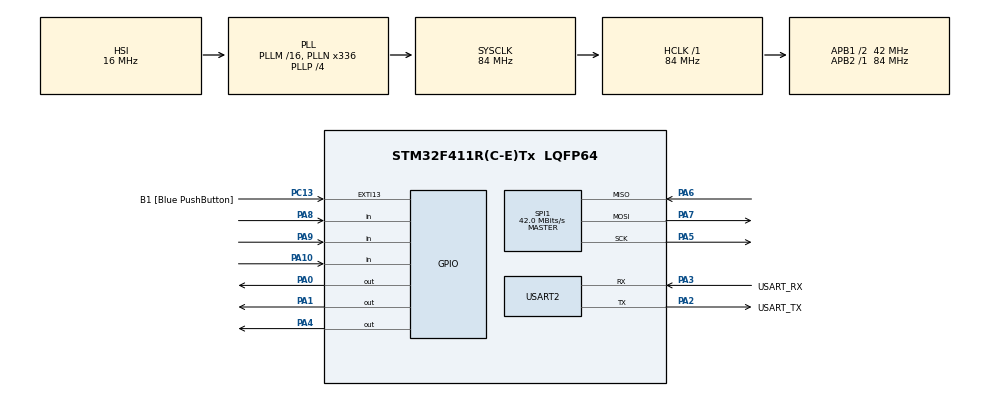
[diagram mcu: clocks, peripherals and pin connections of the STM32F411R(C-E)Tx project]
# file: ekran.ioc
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Mcu.Family=STM32F4
Mcu.Name=STM32F411R(C-E)Tx
Mcu.Package=LQFP64
NVIC.PriorityGroup=NVIC_PRIORITYGROUP_0
PA0-WKUP.PinState=GPIO_PIN_SET
PA0-WKUP.Signal=GPIO_Output
PA1.PinState=GPIO_PIN_SET
PA1.Signal=GPIO_Output
PA10.Signal=GPIO_Input
PA13.GPIO_Label=TMS
PA13.Mode=Serial_Wire
PA13.Signal=SYS_JTMS-SWDIO
PA14.GPIO_Label=TCK
PA14.Mode=Serial_Wire
PA14.Signal=SYS_JTCK-SWCLK
PA2.GPIO_Label=USART_TX
PA2.Mode=Asynchronous
PA2.Signal=USART2_TX
PA3.GPIO_Label=USART_RX
PA3.Mode=Asynchronous
PA3.Signal=USART2_RX
PA4.GPIO_Speed=GPIO_SPEED_FREQ_LOW
PA4.PinState=GPIO_PIN_SET
PA4.Signal=GPIO_Output
PA5.Mode=Full_Duplex_Master
PA5.Signal=SPI1_SCK
PA6.Mode=Full_Duplex_Master
PA6.Signal=SPI1_MISO
PA7.Mode=Full_Duplex_Master
PA7.Signal=SPI1_MOSI
PA8.Signal=GPIO_Input
PA9.Signal=GPIO_Input
PB3.GPIO_Label=SWO
PB3.Signal=SYS_JTDO-SWO
PC13-ANTI_TAMP.GPIO_Label=B1 [Blue PushButton]
PC13-ANTI_TAMP.GPIO_ModeDefaultEXTI=GPIO_MODE_IT_FALLING
PC13-ANTI_TAMP.Signal=GPXTI13
PC14-OSC32_IN.Mode=LSE-External-Oscillator
PC14-OSC32_IN.Signal=RCC_OSC32_IN
PC15-OSC32_OUT.Mode=LSE-External-Oscillator
PC15-OSC32_OUT.Signal=RCC_OSC32_OUT
PH0\ -\ OSC_IN.Mode=HSE-External-Clock-Source
PH0\ -\ OSC_IN.Signal=RCC_OSC_IN
PH1\ -\ OSC_OUT.Mode=HSE-External-Clock-Source
PH1\ -\ OSC_OUT.Signal=RCC_OSC_OUT
ProjectManager.HeapSize=0x200
ProjectManager.StackSize=0x400
ProjectManager.TargetToolchain=STM32CubeIDE
RCC.48MHZClocksFreq_Value=84000000
RCC.AHBFreq_Value=84000000
RCC.APB1CLKDivider=RCC_HCLK_DIV2
RCC.APB1Freq_Value=42000000
RCC.APB1TimFreq_Value=84000000
RCC.APB2Freq_Value=84000000
RCC.APB2TimFreq_Value=84000000
RCC.CortexFreq_Value=84000000
RCC.FLatency-AdvancedSettings=FLASH_LATENCY_2
RCC.HCLKFreq_Value=84000000
RCC.HSE_VALUE=8000000
RCC.HSI_VALUE=16000000
RCC.PLLN=336
RCC.PLLP=RCC_PLLP_DIV4
RCC.SYSCLKFreq_VALUE=84000000
RCC.SYSCLKSource=RCC_SYSCLKSOURCE_PLLCLK
RCC.VCOOutputFreq_Value=336000000
SPI1.BaudRatePrescaler=SPI_BAUDRATEPRESCALER_2
SPI1.CalculateBaudRate=42.0 MBits/s
SPI1.Direction=SPI_DIRECTION_2LINES
SPI1.Mode=SPI_MODE_MASTER
SPI1.VirtualType=VM_MASTER
USART2.VirtualMode=VM_ASYNC
board=NUCLEO-F411RE

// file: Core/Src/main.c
/* USER CODE BEGIN Header */
/**
  ******************************************************************************
  * @file           : main.c
  * @brief          : Main program body
  ******************************************************************************
  * @attention
  *
  * Copyright (c) 2026 STMicroelectronics.
  * All rights reserved.
  *
  * This software is licensed under terms that can be found in the LICENSE file
  * in the root directory of this software component.
  * If no LICENSE file comes with this software, it is provided AS-IS.
  *
  ******************************************************************************
  */
/* USER CODE END Header */
#include "main.h"

SPI_HandleTypeDef hspi1;

UART_HandleTypeDef huart2;

/* USER CODE BEGIN PV */

typedef enum {
    STATE_PASS,
    STATE_DOUBLE,
    STATE_BID_LEVEL,
    STATE_BID_SUIT
} BiddingState;

typedef enum {
    CLUBS,
    DIAMONDS,
    HEARTS,
    SPADES,
    NT
} Suit;

typedef enum {
    CALL_PASS,
    CALL_DOUBLE,
    CALL_BID
} CallType;

typedef struct {
    CallType type;
    uint8_t level;
    Suit suit;
} Call;

#define MAX_CALLS 20

volatile Call bidding_history[MAX_CALLS];
volatile uint8_t bidding_count = 0;

volatile BiddingState current_state = STATE_PASS;

volatile uint8_t current_level = 1;
volatile Suit current_suit = CLUBS;

volatile uint8_t double_available = 1;
volatile uint8_t redouble_available = 0;

volatile uint8_t last_bid_level = 0;   // 0 = jeszcze nic nie było
volatile Suit last_bid_suit = CLUBS;

/* USER CODE END PV */

void SystemClock_Config(void);
static void MX_GPIO_Init(void);
static void MX_USART2_UART_Init(void);
static void MX_SPI1_Init(void);

/* USER CODE BEGIN 0 */

#define TFT_DC_PORT GPIOA
#define TFT_DC_PIN  GPIO_PIN_0

#define TFT_RST_PORT GPIOA
#define TFT_RST_PIN  GPIO_PIN_1

#define TFT_CS_PORT GPIOA
#define TFT_CS_PIN  GPIO_PIN_4

void TFT_Select(void)
{
    HAL_GPIO_WritePin(TFT_CS_PORT, TFT_CS_PIN, GPIO_PIN_RESET);
}

void TFT_Unselect(void)
{
    HAL_GPIO_WritePin(TFT_CS_PORT, TFT_CS_PIN, GPIO_PIN_SET);
}

void TFT_DC_Command(void)
{
    HAL_GPIO_WritePin(TFT_DC_PORT, TFT_DC_PIN, GPIO_PIN_RESET);
}

void TFT_DC_Data(void)
{
    HAL_GPIO_WritePin(TFT_DC_PORT, TFT_DC_PIN, GPIO_PIN_SET);
}

void TFT_Reset(void)
{
    HAL_GPIO_WritePin(TFT_RST_PORT, TFT_RST_PIN, GPIO_PIN_RESET);
    HAL_Delay(20);
    HAL_GPIO_WritePin(TFT_RST_PORT, TFT_RST_PIN, GPIO_PIN_SET);
    HAL_Delay(120);
}

void TFT_WriteCommand(uint8_t cmd)
{
    TFT_DC_Command();
    TFT_Select();
    HAL_SPI_Transmit(&hspi1, &cmd, 1, HAL_MAX_DELAY);
    TFT_Unselect();
}

void TFT_WriteData(uint8_t data)
{
    TFT_DC_Data();
    TFT_Select();
    HAL_SPI_Transmit(&hspi1, &data, 1, HAL_MAX_DELAY);
    TFT_Unselect();
}

void TFT_WriteBuffer(uint8_t *buff, uint32_t len)
{
    TFT_DC_Data();
    TFT_Select();
    HAL_SPI_Transmit(&hspi1, buff, len, HAL_MAX_DELAY);
    TFT_Unselect();
}

void ILI9488_Init_Minimal(void)
{
    TFT_Reset();

    TFT_WriteCommand(0x01);
    HAL_Delay(120);

    TFT_WriteCommand(0x11);
    HAL_Delay(120);

    TFT_WriteCommand(0x3A);
    TFT_WriteData(0x66);    // 18-bit

    TFT_WriteCommand(0x36);
    TFT_WriteData(0x48);

    TFT_WriteCommand(0x29);
    HAL_Delay(20);
}

void ILI9488_SetAddressWindow(uint16_t x0, uint16_t y0, uint16_t x1, uint16_t y1)
{
    uint8_t data[4];

    TFT_WriteCommand(0x2A);
    data[0] = (x0 >> 8) & 0xFF;
    data[1] = x0 & 0xFF;
    data[2] = (x1 >> 8) & 0xFF;
    data[3] = x1 & 0xFF;
    TFT_WriteBuffer(data, 4);

    TFT_WriteCommand(0x2B);
    data[0] = (y0 >> 8) & 0xFF;
    data[1] = y0 & 0xFF;
    data[2] = (y1 >> 8) & 0xFF;
    data[3] = y1 & 0xFF;
    TFT_WriteBuffer(data, 4);

    TFT_WriteCommand(0x2C);
}

void ILI9488_FillScreen(uint8_t r, uint8_t g, uint8_t b)
{
    ILI9488_SetAddressWindow(0, 0, 319, 479);

    TFT_DC_Data();
    TFT_Select();

    uint8_t pixel[3] = {r, g, b};

    for (uint32_t i = 0; i < 320UL * 480UL; i++)
    {
        HAL_SPI_Transmit(&hspi1, pixel, 3, HAL_MAX_DELAY);
    }

    TFT_Unselect();
}

void ILI9488_FillRect(uint16_t x, uint16_t y, uint16_t w, uint16_t h, uint8_t r, uint8_t g, uint8_t b)
{
    if (x >= 320 || y >= 480) return;
    if ((x + w) > 320) w = 320 - x;
    if ((y + h) > 480) h = 480 - y;

    ILI9488_SetAddressWindow(x, y, x + w - 1, y + h - 1);

    TFT_DC_Data();
    TFT_Select();

    uint8_t pixel[3] = {r, g, b};

    for (uint32_t i = 0; i < (uint32_t)w * h; i++)
    {
        HAL_SPI_Transmit(&hspi1, pixel, 3, HAL_MAX_DELAY);
    }

    TFT_Unselect();
}

/* ===== 7-segment digits ===== */

void DrawSegmentA(uint16_t x, uint16_t y, uint8_t r, uint8_t g, uint8_t b)
{
    ILI9488_FillRect(x + 10, y, 40, 10, r, g, b);
}

void DrawSegmentB(uint16_t x, uint16_t y, uint8_t r, uint8_t g, uint8_t b)
{
    ILI9488_FillRect(x + 50, y + 10, 10, 40, r, g, b);
}

void DrawSegmentC(uint16_t x, uint16_t y, uint8_t r, uint8_t g, uint8_t b)
{
    ILI9488_FillRect(x + 50, y + 60, 10, 40, r, g, b);
}

void DrawSegmentD(uint16_t x, uint16_t y, uint8_t r, uint8_t g, uint8_t b)
{
    ILI9488_FillRect(x + 10, y + 100, 40, 10, r, g, b);
}

void DrawSegmentE(uint16_t x, uint16_t y, uint8_t r, uint8_t g, uint8_t b)
{
    ILI9488_FillRect(x, y + 60, 10, 40, r, g, b);
}

void DrawSegmentF(uint16_t x, uint16_t y, uint8_t r, uint8_t g, uint8_t b)
{
    ILI9488_FillRect(x, y + 10, 10, 40, r, g, b);
}

void DrawSegmentG(uint16_t x, uint16_t y, uint8_t r, uint8_t g, uint8_t b)
{
    ILI9488_FillRect(x + 10, y + 50, 40, 10, r, g, b);
}

void SetNextBidAfterLast(void)
{
    if (last_bid_level == 0)
    {
        current_level = 1;
        current_suit = CLUBS;
        return;
    }

    current_level = last_bid_level;
    current_suit = (Suit)(last_bid_suit + 1);

    if (current_suit > NT)
    {
        current_suit = CLUBS;
        current_level++;

        if (current_level > 7)
        {
            current_level = 7;
            current_suit = NT;
        }
    }
}

void HandleNext(void)
{
    switch(current_state)
    {
        case STATE_PASS:
            if(double_available)
                current_state = STATE_DOUBLE;
            else
                current_state = STATE_BID_LEVEL;
            break;

        case STATE_DOUBLE:
            current_state = STATE_BID_LEVEL;
            break;

        case STATE_BID_LEVEL:
            current_level++;
            if(current_level > 7)
                current_level = 1;
            break;

        case STATE_BID_SUIT:
            current_suit = (Suit)(current_suit + 1);
            if(current_suit > NT)
                current_suit = CLUBS;
            break;
    }
}

void HandleBack(void)
{
    switch(current_state)
    {
        case STATE_PASS:
            break;

        case STATE_DOUBLE:
            current_state = STATE_PASS;
            break;

        case STATE_BID_LEVEL:
            if(double_available)
                current_state = STATE_DOUBLE;
            else
                current_state = STATE_PASS;
            break;

        case STATE_BID_SUIT:
            current_state = STATE_BID_LEVEL;
            break;
    }
}

void HandleOK(void)
{
    switch(current_state)
    {
        case STATE_PASS:
            AddCallToHistory(CALL_PASS, 0, CLUBS);
            current_state = STATE_PASS;
            break;

        case STATE_DOUBLE:
            AddCallToHistory(CALL_DOUBLE, 0, CLUBS);
            current_state = STATE_PASS;
            break;

        case STATE_BID_LEVEL:
            current_state = STATE_BID_SUIT;
            break;

        case STATE_BID_SUIT:
            AddCallToHistory(CALL_BID, current_level, current_suit);

            last_bid_level = current_level;
            last_bid_suit = current_suit;

            SetNextBidAfterLast();
            current_state = STATE_PASS;
            break;
    }
}

void DrawSmallPass(uint16_t x, uint16_t y)
{
    // niebieskie P
    ILI9488_FillRect(x, y, 4, 20, 0, 0, 255);
    ILI9488_FillRect(x + 4, y, 8, 4, 0, 0, 255);
    ILI9488_FillRect(x + 12, y + 4, 4, 6, 0, 0, 255);
    ILI9488_FillRect(x + 4, y + 10, 8, 4, 0, 0, 255);
}
void DrawBigPass(uint16_t x, uint16_t y)
{
	ClearColorTopPanel();
	ClearNumberTopPanel();
    // białe P
    ILI9488_FillRect(x, y, 16, 80, 255, 255, 255);
    ILI9488_FillRect(x + 16, y, 32, 16, 255, 255, 255);
    ILI9488_FillRect(x + 48, y + 16, 16, 24, 255, 255, 255);
    ILI9488_FillRect(x + 16, y + 40, 32, 16, 255, 255, 255);
}

void DrawSmallX(uint16_t x, uint16_t y)
{
    // czerwone X
    for (int i = 0; i < 12; i++)
    {
        ILI9488_FillRect(x + i, y + i, 2, 2, 255, 0, 0);
        ILI9488_FillRect(x + 12 - i, y + i, 2, 2, 255, 0, 0);
    }
}

void DrawTinyDigit(uint16_t x, uint16_t y, uint8_t digit)
{
    // bardzo mała wersja 7-seg
    uint8_t t = 3;
    uint8_t w = 12;
    uint8_t h = 20;

    if (digit == 0 || digit > 7) return;

    #define SA() ILI9488_FillRect(x + t, y, w, t, 255,255,255)
    #define SB() ILI9488_FillRect(x + w + t, y + t, t, h/2, 255,255,255)
    #define SC() ILI9488_FillRect(x + w + t, y + h/2 + t, t, h/2, 255,255,255)
    #define SD() ILI9488_FillRect(x + t, y + h + t, w, t, 255,255,255)
    #define SE() ILI9488_FillRect(x, y + h/2 + t, t, h/2, 255,255,255)
    #define SF() ILI9488_FillRect(x, y + t, t, h/2, 255,255,255)
    #define SG() ILI9488_FillRect(x + t, y + h/2, w, t, 255,255,255)

    switch(digit)
    {
        case 1: SB(); SC(); break;
        case 2: SA(); SB(); SG(); SE(); SD(); break;
        case 3: SA(); SB(); SG(); SC(); SD(); break;
        case 4: SF(); SG(); SB(); SC(); break;
        case 5: SA(); SF(); SG(); SC(); SD(); break;
        case 6: SA(); SF(); SG(); SE(); SC(); SD(); break;
        case 7: SA(); SB(); SC(); break;
    }

    #undef SA
    #undef SB
    #undef SC
    #undef SD
    #undef SE
    #undef SF
    #undef SG
}

void DrawSmallSuit(uint16_t x, uint16_t y, Suit suit)
{
    switch(suit)
    {
        case CLUBS:
            ILI9488_FillRect(x , y + 8, 16, 3, 0, 255, 0);
            ILI9488_FillRect(x + 4, y + 14, 8, 1, 0, 255, 0);
            ILI9488_FillRect(x + 5, y + 13, 6, 1, 0, 255, 0);
            ILI9488_FillRect(x + 6, y + 12, 4, 1, 0, 255, 0);
            ILI9488_FillRect(x + 7, y + 11, 2, 1, 0, 255, 0);
            ILI9488_FillRect(x + 7, y + 7, 2, 1, 0, 255, 0);
            ILI9488_FillRect(x + 6, y + 6, 4, 1, 0, 255, 0);
            ILI9488_FillRect(x + 5, y + 2, 6, 1, 0, 255, 0);
            ILI9488_FillRect(x + 5, y + 1, 6, 1, 0, 255, 0);
            ILI9488_FillRect(x + 6, y, 4, 1, 0, 255, 0);
            ILI9488_FillRect(x + 4, y + 3, 8, 3, 0, 255, 0);

            ILI9488_FillRect(x + 1, y + 7, 5, 1, 0, 255, 0);
            ILI9488_FillRect(x + 2, y + 6, 3, 1, 0, 255, 0);
            ILI9488_FillRect(x + 1, y + 11, 5, 1, 0, 255, 0);
            ILI9488_FillRect(x + 2, y + 12, 3, 1, 0, 255, 0);

            ILI9488_FillRect(x + 10, y + 7, 5, 1, 0, 255, 0);
            ILI9488_FillRect(x + 11, y + 6, 3, 1, 0, 255, 0);
            ILI9488_FillRect(x + 10, y + 11, 5, 1, 0, 255, 0);
            ILI9488_FillRect(x + 11, y + 12, 3, 1, 0, 255, 0);

            break;

        case DIAMONDS:
            ILI9488_FillRect(x + 4, y, 4, 4, 255, 170, 0);
            ILI9488_FillRect(x + 2, y + 4, 8, 8, 255, 170, 0);
            ILI9488_FillRect(x + 4, y + 12, 4, 4, 255, 170, 0);
            break;

        case HEARTS:
            ILI9488_FillRect(x + 2, y, 4, 4, 255, 0, 0);
            ILI9488_FillRect(x + 6, y, 4, 4, 255, 0, 0);
            ILI9488_FillRect(x, y + 4, 12, 6, 255, 0, 0);
            ILI9488_FillRect(x + 2, y + 10, 8, 4, 255, 0, 0);
            break;

        case SPADES:
            ILI9488_FillRect(x + 4, y, 4, 4, 0, 0, 255);
            ILI9488_FillRect(x, y + 4, 12, 6, 0, 0, 255);
            ILI9488_FillRect(x + 4, y + 10, 4, 6, 0, 0, 255);
            break;

        case NT:
            ILI9488_FillRect(x, y, 4, 16, 255, 255, 255);
            ILI9488_FillRect(x + 8, y, 4, 16, 255, 255, 255);
            ILI9488_FillRect(x + 4, y + 6, 4, 4, 255, 255, 255);
            break;
    }
}

void DrawBigSuit(uint16_t x, uint16_t y, Suit suit)
{
    switch(suit)
    {
        case CLUBS:
            ILI9488_FillRect(x , y + 32, 64, 12, 0, 255, 0);
            ILI9488_FillRect(x + 16, y + 56, 32, 4, 0, 255, 0);
            ILI9488_FillRect(x + 20, y + 52, 24, 4, 0, 255, 0);
            ILI9488_FillRect(x + 24, y + 48, 16, 4, 0, 255, 0);
            ILI9488_FillRect(x + 28, y + 44, 8, 4, 0, 255, 0);
            ILI9488_FillRect(x + 28, y + 28, 8, 4, 0, 255, 0);
            ILI9488_FillRect(x + 24, y + 24, 16, 4, 0, 255, 0);
            ILI9488_FillRect(x + 20, y + 20, 24, 4, 0, 255, 0);
            ILI9488_FillRect(x + 20, y + 8, 24, 4, 0, 255, 0);
            ILI9488_FillRect(x + 20, y + 4, 24, 4, 0, 255, 0);
            ILI9488_FillRect(x + 24, y, 16, 4, 0, 255, 0);
            ILI9488_FillRect(x + 16, y + 8, 32, 12, 0, 255, 0);

            ILI9488_FillRect(x + 4, y + 28, 20, 4, 0, 255, 0);
            ILI9488_FillRect(x + 8, y + 24, 12, 4, 0, 255, 0);
            ILI9488_FillRect(x + 4, y + 44, 20, 4, 0, 255, 0);
            ILI9488_FillRect(x + 8, y + 48, 12, 4, 0, 255, 0);

            ILI9488_FillRect(x + 40, y + 28, 20, 4, 0, 255, 0);
            ILI9488_FillRect(x + 44, y + 24, 12, 4, 0, 255, 0);
            ILI9488_FillRect(x + 40, y + 44, 20, 4, 0, 255, 0);
            ILI9488_FillRect(x + 44, y + 48, 12, 4, 0, 255, 0);

            break;

        case DIAMONDS:

        	for (int i = 0; i < 41; i++)
        	    {
        	        ILI9488_FillRect(x - i/2, y + i, 2+i, 1, 255, 170, 0);
        	        ILI9488_FillRect(x - i/2 , y + 80 - i, 2+i, 1, 255, 170, 0);
        	    }

            break;

        case HEARTS:

        	for (int i = 0; i < 41; i++)
        	       {
        	        ILI9488_FillRect(x - i/2, y + 80 - i, 2+i, 1, 255, 0, 0);

        	       }

            break;

        case SPADES:
        	for (int i = 0; i < 61; i++)
        	        {
        	        ILI9488_FillRect(x - i/2, y + i, 2+i, 1, 0, 0, 255);

        	        }
            break;

        case NT:
            ILI9488_FillRect(x, y, 4, 16, 255, 255, 255);
            ILI9488_FillRect(x + 8, y, 4, 16, 255, 255, 255);
            ILI9488_FillRect(x + 4, y + 6, 4, 4, 255, 255, 255);
            break;
    }
}

void AddCallToHistory(CallType type, uint8_t level, Suit suit)
{
    if (bidding_count >= MAX_CALLS) return;

    bidding_history[bidding_count].type = type;
    bidding_history[bidding_count].level = level;
    bidding_history[bidding_count].suit = suit;
    bidding_count++;
}

void DrawHistory(void)
{
    // czyścimy dolną połowę
    ILI9488_FillRect(0, 240, 320, 240, 0, 0, 0);

    for (uint8_t i = 0; i < bidding_count; i++)
    {
        uint8_t col = i % 4;
        uint8_t row = i / 4;

        if (row >= 5) break;

        uint16_t cell_x = 20 + col * 75;
        uint16_t cell_y = 255 + row * 40;

        ILI9488_FillRect(cell_x - 4, cell_y - 10, 46, 34, 40, 40, 40);

        if (bidding_history[i].type == CALL_PASS)
        {
            DrawSmallPass(cell_x, cell_y);
        }
        else if (bidding_history[i].type == CALL_DOUBLE)
        {
            DrawSmallX(cell_x, cell_y);
        }
        else if (bidding_history[i].type == CALL_BID)
        {
            DrawTinyDigit(cell_x, cell_y, bidding_history[i].level);
            DrawSmallSuit(cell_x + 20, cell_y + 2, bidding_history[i].suit);
        }
    }
}

void ClearTopPanel(void)
{
    ILI9488_FillRect(0, 0, 320, 240, 0, 0, 0);
}
void ClearColorTopPanel(void)
{
    ILI9488_FillRect(20, 20, 140, 120, 30, 30, 30);
}
void ClearNumberTopPanel(void)
{
    ILI9488_FillRect(180, 20, 120, 120, 30, 30, 30);
}

void ShowDouble(void)
{
	ClearColorTopPanel();
	ClearNumberTopPanel();
    ILI9488_FillRect(80, 60, 80, 40, 255, 0, 0);
}

void ShowLevel(void)
{
    ClearTopPanel();

    uint16_t x = 195;
    uint16_t y = 25;

    switch (current_level)
    {
        case 1:
            DrawSegmentB(x, y, 255, 255, 255);
            DrawSegmentC(x, y, 255, 255, 255);
            break;
        case 2:
            DrawSegmentA(x, y, 255, 255, 255);
            DrawSegmentB(x, y, 255, 255, 255);
            DrawSegmentG(x, y, 255, 255, 255);
            DrawSegmentE(x, y, 255, 255, 255);
            DrawSegmentD(x, y, 255, 255, 255);
            break;
        case 3:
            DrawSegmentA(x, y, 255, 255, 255);
            DrawSegmentB(x, y, 255, 255, 255);
            DrawSegmentG(x, y, 255, 255, 255);
            DrawSegmentC(x, y, 255, 255, 255);
            DrawSegmentD(x, y, 255, 255, 255);
            break;
        case 4:
            DrawSegmentF(x, y, 255, 255, 255);
            DrawSegmentG(x, y, 255, 255, 255);
            DrawSegmentB(x, y, 255, 255, 255);
            DrawSegmentC(x, y, 255, 255, 255);
            break;
        case 5:
            DrawSegmentA(x, y, 255, 255, 255);
            DrawSegmentF(x, y, 255, 255, 255);
            DrawSegmentG(x, y, 255, 255, 255);
            DrawSegmentC(x, y, 255, 255, 255);
            DrawSegmentD(x, y, 255, 255, 255);
            break;
        case 6:
            DrawSegmentA(x, y, 255, 255, 255);
            DrawSegmentF(x, y, 255, 255, 255);
            DrawSegmentG(x, y, 255, 255, 255);
            DrawSegmentE(x, y, 255, 255, 255);
            DrawSegmentC(x, y, 255, 255, 255);
            DrawSegmentD(x, y, 255, 255, 255);
            break;
        case 7:
            DrawSegmentA(x, y, 255, 255, 255);
            DrawSegmentB(x, y, 255, 255, 255);
            DrawSegmentC(x, y, 255, 255, 255);
            break;
    }
}

void ShowSuit(void)
{
    ClearColorTopPanel();

    switch(current_suit)
    {
        case CLUBS:
            DrawBigSuit(50,70,CLUBS);
            break;
        case DIAMONDS:
        	DrawBigSuit(100,40,DIAMONDS);
            break;
        case HEARTS:
        	DrawBigSuit(100,40,HEARTS);
            break;
        case SPADES:
        	DrawBigSuit(100,40,SPADES);
            break;
        case NT:
            ILI9488_FillRect(100, 70, 60, 40, 255, 255, 0);
            break;
    }
}

void Render(void)
{

    switch(current_state)
    {
        case STATE_PASS:
        	ClearColorTopPanel();
        	ClearNumberTopPanel();
            DrawBigPass(80, 60);
            break;

        case STATE_DOUBLE:

            ShowDouble();
            break;

        case STATE_BID_LEVEL:
        	ClearNumberTopPanel();
            ShowLevel();
            break;

        case STATE_BID_SUIT:
            ShowSuit();
            break;
    }
    ILI9488_FillRect(40, 140, 260,10,0,0,0);
    if (current_state == STATE_BID_LEVEL) {
            ILI9488_FillRect(195, 140, 60, 5, 255, 255, 0);
    } else if (current_state == STATE_BID_SUIT) {
           ILI9488_FillRect(40, 140, 80, 5, 255, 255, 0);
    }

}

/* USER CODE END 0 */

int main(void)
{

  /* MCU Configuration--------------------------------------------------------*/

  /* Reset of all peripherals, Initializes the Flash interface and the Systick. */
  HAL_Init();

  /* Configure the system clock */
  SystemClock_Config();

  /* Initialize all configured peripherals */
  MX_GPIO_Init();
  MX_USART2_UART_Init();
  MX_SPI1_Init();
  /* USER CODE BEGIN 2 */
  HAL_GPIO_WritePin(GPIOA, GPIO_PIN_4, GPIO_PIN_SET);
  HAL_GPIO_WritePin(GPIOA, GPIO_PIN_1, GPIO_PIN_SET);
  HAL_GPIO_WritePin(GPIOA, GPIO_PIN_0, GPIO_PIN_SET);

  ILI9488_Init_Minimal();
  ClearTopPanel();
  Render();
  DrawHistory();
  /* USER CODE END 2 */

  /* Infinite loop */
  /* USER CODE BEGIN WHILE */
  while (1)
  {
	  // PA8 = NEXT
	        if (HAL_GPIO_ReadPin(GPIOA, GPIO_PIN_8) == GPIO_PIN_SET)
	        {
	            HandleNext();
	            Render();
	            HAL_Delay(200);

	            while (HAL_GPIO_ReadPin(GPIOA, GPIO_PIN_8) == GPIO_PIN_SET)
	            {
	                HAL_Delay(10);
	            }
	        }

	        // PA9 = OK
	        if (HAL_GPIO_ReadPin(GPIOA, GPIO_PIN_9) == GPIO_PIN_SET)
	        {
	            HandleOK();
	            Render();
	            DrawHistory();

	            HAL_Delay(200);

	            while (HAL_GPIO_ReadPin(GPIOA, GPIO_PIN_9) == GPIO_PIN_SET)
	            {
	                HAL_Delay(10);
	            }
	        }

	        // PA10 = BACK
	        if (HAL_GPIO_ReadPin(GPIOA, GPIO_PIN_10) == GPIO_PIN_SET)
	        {
	            HandleBack();
	            Render();
	            HAL_Delay(200);

	            while (HAL_GPIO_ReadPin(GPIOA, GPIO_PIN_10) == GPIO_PIN_SET)
	            {
	                HAL_Delay(10);
	            }
	        }
    /* USER CODE END WHILE */

  }
}

void SystemClock_Config(void)
{
  RCC_OscInitTypeDef RCC_OscInitStruct = {0};
  RCC_ClkInitTypeDef RCC_ClkInitStruct = {0};

  /** Configure the main internal regulator output voltage
  */
  __HAL_RCC_PWR_CLK_ENABLE();
  __HAL_PWR_VOLTAGESCALING_CONFIG(PWR_REGULATOR_VOLTAGE_SCALE1);

  /** Initializes the RCC Oscillators according to the specified parameters
  * in the RCC_OscInitTypeDef structure.
  */
  RCC_OscInitStruct.OscillatorType = RCC_OSCILLATORTYPE_HSI;
  RCC_OscInitStruct.HSIState = RCC_HSI_ON;
  RCC_OscInitStruct.HSICalibrationValue = RCC_HSICALIBRATION_DEFAULT;
  RCC_OscInitStruct.PLL.PLLState = RCC_PLL_ON;
  RCC_OscInitStruct.PLL.PLLSource = RCC_PLLSOURCE_HSI;
  RCC_OscInitStruct.PLL.PLLM = 16;
  RCC_OscInitStruct.PLL.PLLN = 336;
  RCC_OscInitStruct.PLL.PLLP = RCC_PLLP_DIV4;
  RCC_OscInitStruct.PLL.PLLQ = 4;
  if (HAL_RCC_OscConfig(&RCC_OscInitStruct) != HAL_OK)
  {
    Error_Handler();
  }

  /** Initializes the CPU, AHB and APB buses clocks
  */
  RCC_ClkInitStruct.ClockType = RCC_CLOCKTYPE_HCLK|RCC_CLOCKTYPE_SYSCLK
                              |RCC_CLOCKTYPE_PCLK1|RCC_CLOCKTYPE_PCLK2;
  RCC_ClkInitStruct.SYSCLKSource = RCC_SYSCLKSOURCE_PLLCLK;
  RCC_ClkInitStruct.AHBCLKDivider = RCC_SYSCLK_DIV1;
  RCC_ClkInitStruct.APB1CLKDivider = RCC_HCLK_DIV2;
  RCC_ClkInitStruct.APB2CLKDivider = RCC_HCLK_DIV1;

  if (HAL_RCC_ClockConfig(&RCC_ClkInitStruct, FLASH_LATENCY_2) != HAL_OK)
  {
    Error_Handler();
  }
}

static void MX_SPI1_Init(void)
{

  /* SPI1 parameter configuration*/
  hspi1.Instance = SPI1;
  hspi1.Init.Mode = SPI_MODE_MASTER;
  hspi1.Init.Direction = SPI_DIRECTION_2LINES;
  hspi1.Init.DataSize = SPI_DATASIZE_8BIT;
  hspi1.Init.CLKPolarity = SPI_POLARITY_LOW;
  hspi1.Init.CLKPhase = SPI_PHASE_1EDGE;
  hspi1.Init.NSS = SPI_NSS_SOFT;
  hspi1.Init.BaudRatePrescaler = SPI_BAUDRATEPRESCALER_2;
  hspi1.Init.FirstBit = SPI_FIRSTBIT_MSB;
  hspi1.Init.TIMode = SPI_TIMODE_DISABLE;
  hspi1.Init.CRCCalculation = SPI_CRCCALCULATION_DISABLE;
  hspi1.Init.CRCPolynomial = 10;
  if (HAL_SPI_Init(&hspi1) != HAL_OK)
  {
    Error_Handler();
  }

}

static void MX_USART2_UART_Init(void)
{

  huart2.Instance = USART2;
  huart2.Init.BaudRate = 115200;
  huart2.Init.WordLength = UART_WORDLENGTH_8B;
  huart2.Init.StopBits = UART_STOPBITS_1;
  huart2.Init.Parity = UART_PARITY_NONE;
  huart2.Init.Mode = UART_MODE_TX_RX;
  huart2.Init.HwFlowCtl = UART_HWCONTROL_NONE;
  huart2.Init.OverSampling = UART_OVERSAMPLING_16;
  if (HAL_UART_Init(&huart2) != HAL_OK)
  {
    Error_Handler();
  }

}

static void MX_GPIO_Init(void)
{
  GPIO_InitTypeDef GPIO_InitStruct = {0};

  /* GPIO Ports Clock Enable */
  __HAL_RCC_GPIOC_CLK_ENABLE();
  __HAL_RCC_GPIOH_CLK_ENABLE();
  __HAL_RCC_GPIOA_CLK_ENABLE();
  __HAL_RCC_GPIOB_CLK_ENABLE();

  /*Configure GPIO pin Output Level */
  HAL_GPIO_WritePin(GPIOA, GPIO_PIN_0|GPIO_PIN_1|GPIO_PIN_4, GPIO_PIN_SET);

  /*Configure GPIO pin : B1_Pin */
  GPIO_InitStruct.Pin = B1_Pin;
  GPIO_InitStruct.Mode = GPIO_MODE_IT_FALLING;
  GPIO_InitStruct.Pull = GPIO_NOPULL;
  HAL_GPIO_Init(B1_GPIO_Port, &GPIO_InitStruct);

  /*Configure GPIO pins : PA0 PA1 PA4 */
  GPIO_InitStruct.Pin = GPIO_PIN_0|GPIO_PIN_1|GPIO_PIN_4;
  GPIO_InitStruct.Mode = GPIO_MODE_OUTPUT_PP;
  GPIO_InitStruct.Pull = GPIO_NOPULL;
  GPIO_InitStruct.Speed = GPIO_SPEED_FREQ_LOW;
  HAL_GPIO_Init(GPIOA, &GPIO_InitStruct);

  /*Configure GPIO pins : PA8 PA9 PA10 */
  GPIO_InitStruct.Pin = GPIO_PIN_8|GPIO_PIN_9|GPIO_PIN_10;
  GPIO_InitStruct.Mode = GPIO_MODE_INPUT;
  GPIO_InitStruct.Pull = GPIO_NOPULL;
  HAL_GPIO_Init(GPIOA, &GPIO_InitStruct);

}

void Error_Handler(void)
{
  __disable_irq();
  while (1)
  {
  }
}
